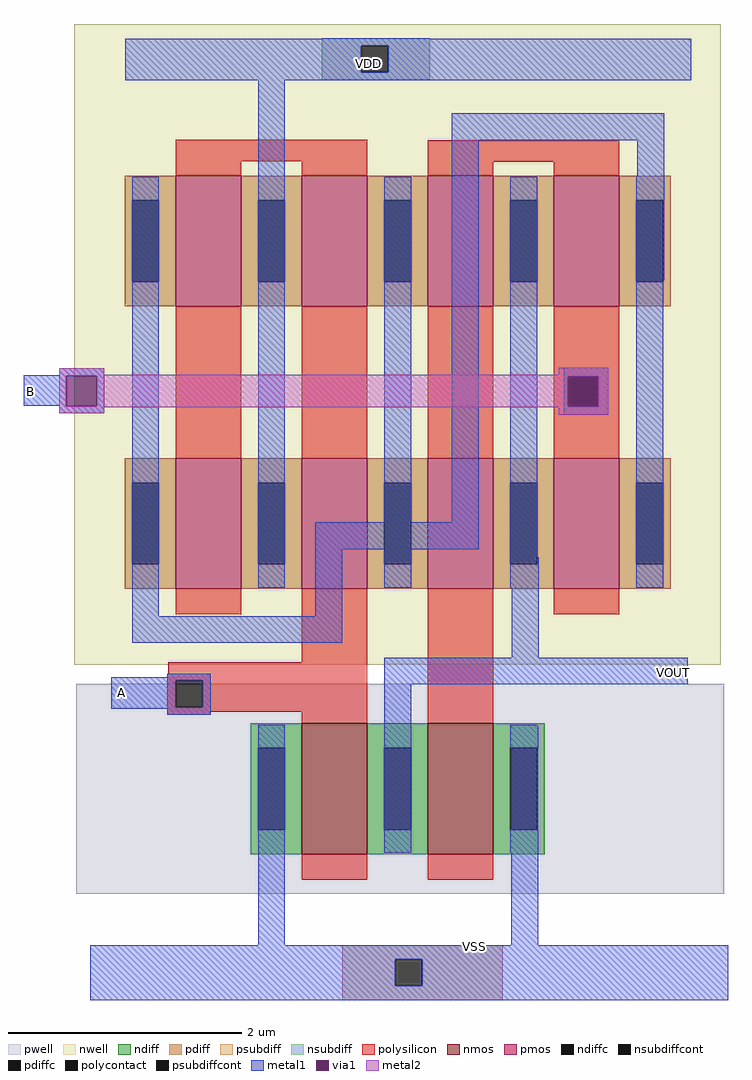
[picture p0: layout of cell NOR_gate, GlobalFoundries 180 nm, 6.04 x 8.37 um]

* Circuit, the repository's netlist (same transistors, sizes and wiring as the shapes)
* NGSPICE file created from NOR_gate.ext - technology: gf180mcuD

.subckt pmos_3p3_VZX6F7 a_164_n112# a_n164_n156# a_n252_n112# a_52_n156# w_n338_n242#
+ a_n52_n112#
X0 a_164_n112# a_52_n156# a_n52_n112# w_n338_n242# pfet_03v3 ad=0.4928p pd=3.12u as=0.2912p ps=1.64u w=1.12u l=0.56u
X1 a_n52_n112# a_n164_n156# a_n252_n112# w_n338_n242# pfet_03v3 ad=0.2912p pd=1.64u as=0.4928p ps=3.12u w=1.12u l=0.56u
.ends

.subckt nmos_3p3_F2UGVV a_164_n112# a_n164_n156# a_n252_n112# a_52_n156# a_n52_n112#
+ VSUBS
X0 a_164_n112# a_52_n156# a_n52_n112# VSUBS nfet_03v3 ad=0.4928p pd=3.12u as=0.2912p ps=1.64u w=1.12u l=0.56u
X1 a_n52_n112# a_n164_n156# a_n252_n112# VSUBS nfet_03v3 ad=0.2912p pd=1.64u as=0.4928p ps=3.12u w=1.12u l=0.56u
.ends

.subckt NOR_gate A VOUT B VSS VDD
Xpmos_3p3_VZX6F7_0 m1_114_n393# A m1_114_n393# A VDD VDD pmos_3p3_VZX6F7
Xpmos_3p3_VZX6F7_1 m1_114_n393# A m1_114_n393# A VDD VDD pmos_3p3_VZX6F7
Xpmos_3p3_VZX6F7_2 m1_114_n393# B m1_114_n393# B VDD VOUT pmos_3p3_VZX6F7
Xpmos_3p3_VZX6F7_3 m1_114_n393# B m1_114_n393# B VDD VOUT pmos_3p3_VZX6F7
Xnmos_3p3_F2UGVV_0 VSS A VSS B VOUT VSS nmos_3p3_F2UGVV
.ends

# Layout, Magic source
magic
tech gf180mcuD
magscale 1 10
<< nwell >>
rect 15 538 1123 668
rect 438 16 485 62
<< pwell >>
rect 18 -823 1129 -463
<< psubdiff >>
rect 474 -935 749 -911
rect 474 -981 565 -935
rect 611 -981 749 -935
rect 474 -1005 749 -981
<< nsubdiff >>
rect 439 631 624 644
rect 439 585 507 631
rect 553 585 624 631
rect 439 572 624 585
<< psubdiffcont >>
rect 565 -981 611 -935
<< nsubdiffcont >>
rect 507 585 553 631
<< polysilicon >>
rect 189 433 517 470
rect 621 432 949 469
rect 189 -34 301 146
rect 405 -33 517 147
rect 621 -33 733 147
rect 837 61 949 146
rect 837 15 865 61
rect 911 15 949 61
rect 837 -34 949 15
rect 405 -426 517 -314
rect 176 -446 517 -426
rect 174 -457 517 -446
rect 174 -503 189 -457
rect 235 -503 517 -457
rect 621 -495 733 -315
rect 174 -511 517 -503
rect 174 -516 249 -511
<< polycontact >>
rect 865 15 911 61
rect 189 -503 235 -457
<< metal1 >>
rect 439 643 624 644
rect 102 631 1072 643
rect 102 585 507 631
rect 553 585 1072 631
rect 102 572 1072 585
rect -11 66 66 78
rect -72 65 66 66
rect -72 14 1 65
rect -11 13 1 14
rect 53 13 66 65
rect -11 1 66 13
rect 114 -347 160 406
rect 330 -298 376 572
rect 662 469 1026 515
rect 546 -186 592 406
rect 662 -186 708 469
rect 980 406 1026 469
rect 428 -232 708 -186
rect 428 -347 474 -232
rect 546 -298 592 -232
rect 762 -246 808 406
rect 978 229 1026 406
rect 854 64 930 79
rect 854 12 861 64
rect 913 12 930 64
rect 854 -2 930 12
rect 762 -298 811 -246
rect 978 -298 1024 229
rect 114 -393 474 -347
rect 765 -418 811 -298
rect 174 -452 249 -446
rect 78 -457 249 -452
rect 78 -503 189 -457
rect 235 -503 249 -457
rect 78 -506 249 -503
rect 174 -516 249 -506
rect 546 -464 1066 -418
rect 330 -911 376 -533
rect 546 -753 592 -464
rect 764 -911 810 -535
rect 42 -935 1136 -911
rect 42 -981 565 -935
rect 611 -981 1136 -935
rect 42 -1005 1136 -981
<< via1 >>
rect 1 13 53 65
rect 861 61 913 64
rect 861 15 865 61
rect 865 15 911 61
rect 911 15 913 61
rect 861 12 913 15
<< metal2 >>
rect -11 67 66 78
rect 845 67 930 79
rect -11 65 930 67
rect -11 13 1 65
rect 53 64 930 65
rect 53 13 861 64
rect -11 12 861 13
rect 913 12 930 64
rect -11 11 930 12
rect -11 1 66 11
rect 845 -2 930 11
use nmos_3p3_F2UGVV  nmos_3p3_F2UGVV_0
transform 1 0 569 0 1 -643
box -276 -180 276 180
use pmos_3p3_VZX6F7  pmos_3p3_VZX6F7_0
transform 1 0 353 0 1 -188
box -338 -242 338 242
use pmos_3p3_VZX6F7  pmos_3p3_VZX6F7_1
transform 1 0 353 0 1 296
box -338 -242 338 242
use pmos_3p3_VZX6F7  pmos_3p3_VZX6F7_2
transform 1 0 785 0 1 296
box -338 -242 338 242
use pmos_3p3_VZX6F7  pmos_3p3_VZX6F7_3
transform 1 0 785 0 1 -188
box -338 -242 338 242
<< labels >>
flabel metal1 s 96 -478 96 -478 0 FreeSans 750 0 0 0 A
port 1 nsew
flabel metal1 s 1042 -443 1042 -443 0 FreeSans 750 0 0 0 VOUT
port 2 nsew
flabel metal1 s -60 38 -60 38 0 FreeSans 750 0 0 0 B
port 3 nsew
rlabel metal1 611 -1005 790 -820 0 VSS
port 5 nsew
rlabel metal1 480 580 560 620 0 VDD
port 6 nsew
<< end >>

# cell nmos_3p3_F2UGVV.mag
magic
tech gf180mcuD
magscale 1 10
<< pwell >>
rect -276 -180 276 180
<< nmos >>
rect -164 -112 -52 112
rect 52 -112 164 112
<< ndiff >>
rect -252 70 -164 112
rect -252 -70 -239 70
rect -193 -70 -164 70
rect -252 -112 -164 -70
rect -52 70 52 112
rect -52 -70 -23 70
rect 23 -70 52 70
rect -52 -112 52 -70
rect 164 70 252 112
rect 164 -70 193 70
rect 239 -70 252 70
rect 164 -112 252 -70
<< ndiffc >>
rect -239 -70 -193 70
rect -23 -70 23 70
rect 193 -70 239 70
<< polysilicon >>
rect -164 112 -52 156
rect 52 112 164 156
rect -164 -156 -52 -112
rect 52 -156 164 -112
<< metal1 >>
rect -239 70 -193 110
rect -239 -110 -193 -70
rect -23 70 23 110
rect -23 -110 23 -70
rect 193 70 239 110
rect 193 -110 239 -70
<< end >>

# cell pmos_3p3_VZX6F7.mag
magic
tech gf180mcuD
magscale 1 10
<< nwell >>
rect -338 -242 338 242
<< pmos >>
rect -164 -112 -52 112
rect 52 -112 164 112
<< pdiff >>
rect -252 70 -164 112
rect -252 -70 -239 70
rect -193 -70 -164 70
rect -252 -112 -164 -70
rect -52 70 52 112
rect -52 -70 -23 70
rect 23 -70 52 70
rect -52 -112 52 -70
rect 164 70 252 112
rect 164 -70 193 70
rect 239 -70 252 70
rect 164 -112 252 -70
<< pdiffc >>
rect -239 -70 -193 70
rect -23 -70 23 70
rect 193 -70 239 70
<< polysilicon >>
rect -164 112 -52 156
rect 52 112 164 156
rect -164 -156 -52 -112
rect 52 -156 164 -112
<< metal1 >>
rect -239 70 -193 110
rect -239 -110 -193 -70
rect -23 70 23 110
rect -23 -110 23 -70
rect 193 70 239 110
rect 193 -110 239 -70
<< end >>
